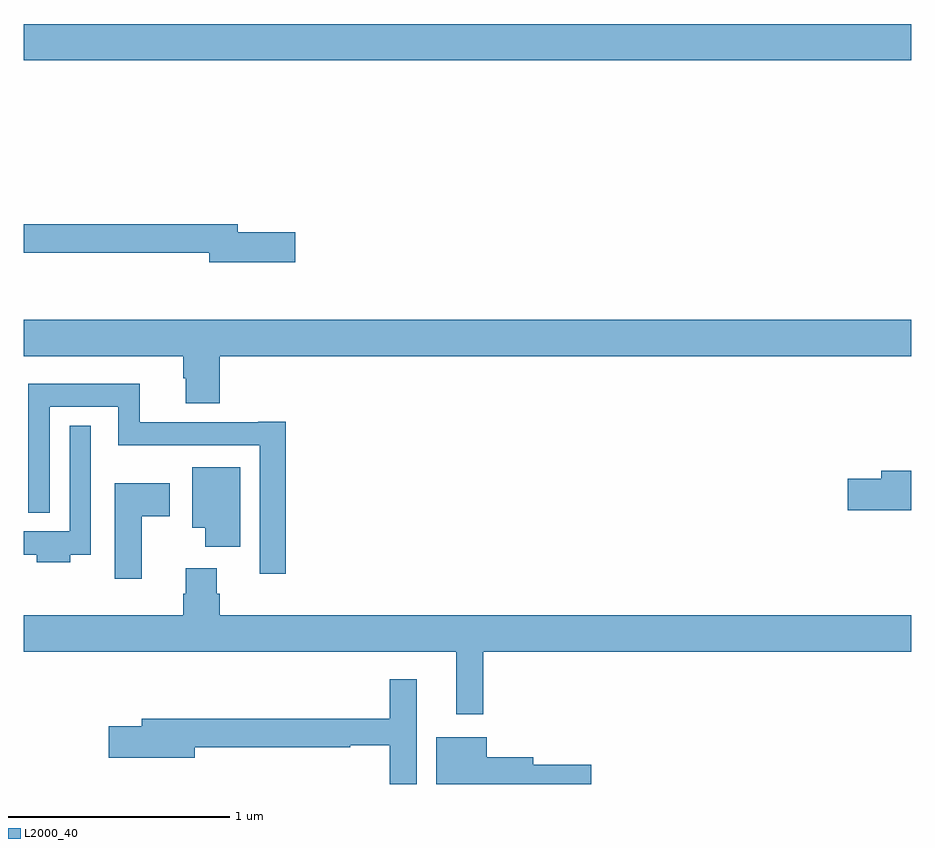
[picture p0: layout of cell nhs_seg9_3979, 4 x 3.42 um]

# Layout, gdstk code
import gdstk
lib = gdstk.Library(unit=1e-6, precision=1e-09)
def R(c, l, rs):  # rectangles x0, y0, x1, y1
    for r in rs: c.add(gdstk.rectangle(r[:2], r[2:], *l))
def P(c, l, *ps):  # polygons
    for p in ps: c.add(gdstk.Polygon(p, *l))
L2000_40 = (2000, 40)

nhs_seg9_3979 = lib.new_cell('nhs_seg9_3979')
R(nhs_seg9_3979, L2000_40, [(339,1189.76,343,1189.924)])
P(nhs_seg9_3979, L2000_40, [(340.225,1188.986),(339.964,1188.986),(339.964,1189.022),(339,1189.022),(339,1188.894),(339.836,1188.894),(339.836,1188.851),(340.225,1188.851)],
  [(339.884,1188.428),(343,1188.428),(343,1188.592),(339,1188.592),(339,1188.428),(339.719,1188.428),(339.719,1188.327),(339.731,1188.327),(339.731,1188.215),(339.884,1188.215)],
  [(340.181,1188.133),(340.058,1188.133),(340.058,1188.13),(339.524,1188.13),(339.524,1188.304),(339.02,1188.304),(339.02,1187.723),(339.117,1187.723),(339.117,1188.2),(339.426,1188.2),(339.426,1188.026),(340.065,1188.026),(340.065,1187.448),(340.181,1187.448)],
  [(339.211,1187.532),(339.303,1187.532),(339.303,1188.115),(339.207,1188.115),(339.207,1187.638),(339,1187.638),(339,1187.532),(339.059,1187.532),(339.059,1187.498),(339.211,1187.498)],
  [(339.976,1187.926),(339.761,1187.926),(339.761,1187.654),(339.818,1187.654),(339.818,1187.568),(339.976,1187.568)],
  [(343,1187.912),(342.863,1187.912),(342.863,1187.876),(342.714,1187.876),(342.714,1187.734),(343,1187.734)],
  [(339.532,1187.707),(339.658,1187.707),(339.658,1187.854),(339.41,1187.854),(339.41,1187.424),(339.532,1187.424)],
  [(340.949,1186.815),(341.071,1186.815),(341.071,1187.096),(343,1187.096),(343,1187.26),(339.884,1187.26),(339.884,1187.358),(339.871,1187.358),(339.871,1187.473),(339.731,1187.473),(339.731,1187.358),(339.719,1187.358),(339.719,1187.26),(339,1187.26),(339,1187.096),(340.949,1187.096)],
  [(340.771,1186.972),(340.65,1186.972),(340.65,1186.795),(339.533,1186.795),(339.533,1186.761),(339.384,1186.761),(339.384,1186.619),(339.772,1186.619),(339.772,1186.666),(340.471,1186.666),(340.471,1186.674),(340.65,1186.674),(340.65,1186.5),(340.771,1186.5)],
  [(341.557,1186.586),(341.296,1186.586),(341.296,1186.621),(341.086,1186.621),(341.086,1186.711),(340.859,1186.711),(340.859,1186.5),(341.557,1186.5)])

lib.write_gds('nhs_seg9_3979.gds')
